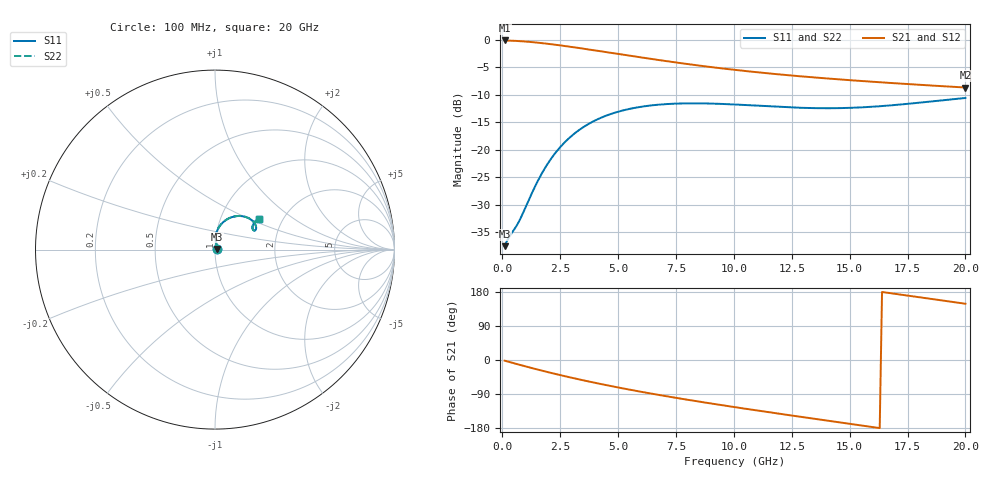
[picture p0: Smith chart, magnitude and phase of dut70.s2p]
! Touchstone file exported from HFSS 2024.1.0
!  File:  C:/UserFiles/LocalFiles/RDL_TSV_Batchsim/temp_RDL_TSV_70_1779411473.aedt
!  Generated:  09:13:57 AM May 22, 2026
!  Design:  RDL_TSV
!  Project:  temp_RDL_TSV_70_1779411473
!  Setup:  Setup1
!  Solution:  Sweep
! Variables:
!  dtsv = 8.81um
!  hbump = 3um
!  htsv = 54.47um
!  ldown = 610.16um
!  lrdl = 388.4um
!  p = 40
!  p1 = 46.54um
!  rhole = 10um
!  subl = 3384.08um
!  t = 450um
!  tdown = 3.98um
!  trdl = 4.93um
!  viad = 10um
!  wdown = 26.08um
!  wrdl = 19.96um
!  xbump = 18um
# GHz S MA R 50.000000
! Terminal data exported
! Port[1] = TM1_1_T1
! Port[2] = TM1_4_T1
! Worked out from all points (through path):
!   200 points, 100 MHz to 20 GHz, reference 50 ohm
!   highest |S21| = -0.12 dB at 100 MHz (marker M1); lowest = -8.7 dB at 20 GHz (marker M2)
!   group delay of S21, straight-line fit = 27.9 ps
!   lowest |S11| = -37.5 dB at 100 MHz (marker M3), VSWR 1.03, Z = 51.3 + j0.353 ohm
!   |S11| at or under -10 dB: start of sweep to end of sweep
!   |S22| runs from -37.5 to -10.5 dB; largest |S21 - S12| = 1.9e-14
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0.1  0.01332 14.9  0.9868 -1.8  0.9868 -1.8  0.01332 14.9
! Gamma 0 0 0 0
! Port Impedance 50 0 50 0
0.3  0.01621 32.2  0.9837 -5.2  0.9837 -5.2  0.01621 32.2
0.7  0.02194 58.7  0.9747 -11.9  0.9747 -11.9  0.02193 58.8
1  0.02985 74.1  0.965 -16.8  0.965 -16.8  0.02985 74.2
1.5  0.05056 85.7  0.9438 -24.8  0.9438 -24.8  0.05057 85.7
2  0.0771 86.8  0.9183 -32.5  0.9183 -32.5  0.07713 86.8
2.3  0.09427 85.1  0.9017 -36.9  0.9017 -36.9  0.09431 85.2
2.7  0.1174 81.7  0.8787 -42.7  0.8787 -42.7  0.1174 81.7
3.1  0.1398 77.5  0.855 -48.3  0.855 -48.3  0.1399 77.6
3.5  0.1609 73.1  0.8312 -53.7  0.8312 -53.7  0.161 73.1
4.2  0.1932 65.3  0.79 -62.7  0.79 -62.7  0.1933 65.4
5  0.2221 57.1  0.7445 -72.5  0.7445 -72.5  0.2223 57.2
5.9  0.2446 49.0  0.6966 -82.8  0.6966 -82.8  0.2449 49.0
6.8  0.2579 42.1  0.6531 -92.6  0.6531 -92.6  0.2582 42.2
8.4  0.2648 33.0  0.587 -108.8  0.587 -108.8  0.265 33.0
10.1  0.258 27.3  0.5316 -124.9  0.5316 -124.9  0.2582 27.4
11.7  0.2474 25.5  0.4908 -139.4  0.4908 -139.4  0.2475 25.6
13.4  0.2396 26.8  0.4563 -154.4  0.4563 -154.4  0.2397 27.0
15  0.2408 29.8  0.4299 -168.4  0.4299 -168.4  0.241 30.1
16.7  0.2529 33.1  0.4063 176.9  0.4063 176.9  0.2532 33.3
18.3  0.2721 34.8  0.3869 163.1  0.3869 163.1  0.2727 35.1
20  0.2962 34.7  0.3686 148.5  0.3686 148.5  0.2971 35.1
